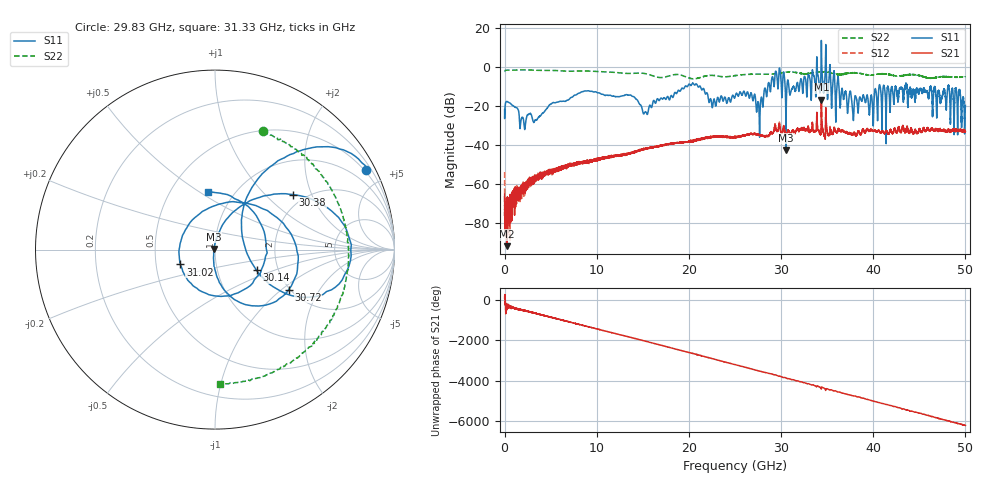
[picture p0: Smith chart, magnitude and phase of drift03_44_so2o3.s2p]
!Created with skrf (http://scikit-rf.org).
# Hz S RI R 50.0
!freq ReS11 ImS11 ReS21 ImS21 ReS12 ImS12 ReS22 ImS22
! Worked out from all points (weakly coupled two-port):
!   10001 points, 300 kHz to 50 GHz, reference 50 ohm
!   highest |S21| = -16.68 dB at 34.37 GHz (marker M1); lowest = -91.8 dB at 250.3 MHz (marker M2)
!   lowest |S11| = -42.4 dB at 30.53 GHz (marker M3), VSWR 1.02, Z = 49.4 + j0.414 ohm
!   |S11| at or under -10 dB: start of sweep to 19.55 GHz; 21.25 GHz to 28.55 GHz (7.296 GHz wide, 29.3 % of centre); 36.28 GHz to 40.62 GHz (4.338 GHz wide, 11.3 % of centre) (the widest 3 of 40)
!   |S22| runs from -5.9 to -1.3 dB; largest |S21 - S12| = 0.028
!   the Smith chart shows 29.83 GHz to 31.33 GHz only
!   S11 on the Smith chart (normalised r, x): 29.83 GHz: 0.43, +4.01; 30.14 GHz: 1.54, -0.38; 30.38 GHz: 1.73, +1.48; 30.72 GHz: 1.97, -1.12; 31.02 GHz: 0.67, -0.12; 31.33 GHz: 0.76, +0.54
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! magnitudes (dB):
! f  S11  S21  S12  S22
! 300 kHz  -21.7  -65.2  -53.8  -2.1
! 250.3 MHz  -17.6  -91.8  -71.6  -1.4
! 3.3 GHz  -27.2  -57.0  -57.7  -1.5
! 8.335 GHz  -12.7  -48.9  -49.4  -1.9
! 15.29 GHz  -22.8  -41.8  -41.8  -3.3
! 16.67 GHz  -16.5  -40.4  -40.6  -5.2
! 20.26 GHz  -9.1  -38.1  -38.0  -5.8
! 22.71 GHz  -16.5  -35.8  -35.8  -4.2
! 25 GHz  -15.3  -35.7  -35.9  -4.3
! 27.53 GHz  -17.8  -34.4  -34.5  -3.5
! 29.83 GHz  -0.4  -29.2  -28.6  -3.0
! 30.14 GHz  -11.7  -33.4  -33.4  -2.8
! 30.38 GHz  -5.5  -32.0  -32.3  -2.6
! 30.53 GHz  -42.4  -34.1  -34.2  -2.5
! 30.72 GHz  -6.6  -32.8  -32.8  -2.4
! 31.02 GHz  -13.6  -34.0  -34.3  -2.4
! 31.33 GHz  -9.9  -32.5  -32.4  -2.5
! 33.34 GHz  -7.4  -31.1  -31.4  -2.9
! 34.37 GHz  13.8  -16.7  -18.1  -2.3
! 37.86 GHz  -27.0  -33.7  -34.1  -2.8
! 41.67 GHz  -11.5  -34.2  -34.0  -3.7
! 50 GHz  -19.6  -32.9  -32.8  -5.0
